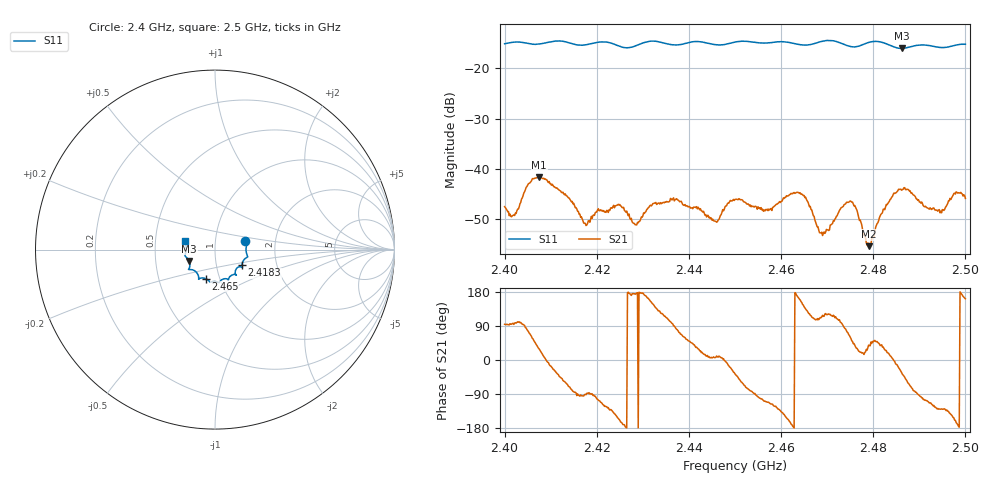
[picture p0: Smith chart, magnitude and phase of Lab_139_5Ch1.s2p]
# Hz S RI R 50
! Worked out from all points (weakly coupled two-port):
!   601 points, 2.4 GHz to 2.5 GHz, reference 50 ohm
!   highest |S21| = -41.62 dB at 2.4075 GHz (marker M1); lowest = -55.4 dB at 2.479 GHz (marker M2)
!   lowest |S11| = -16.1 dB at 2.4862 GHz (marker M3), VSWR 1.37, Z = 37.1 - j4.81 ohm
!   |S11| at or under -10 dB: start of sweep to end of sweep
!   S12 and S22 are empty: the file has one direction only
!   S11 on the Smith chart (normalised r, x): 2.4 GHz: 1.40, +0.13; 2.4183 GHz: 1.33, -0.24; 2.465 GHz: 0.86, -0.28; 2.5 GHz: 0.71, +0.07
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2.4e9  0.1688 0.0467  -0.000308 0.0042  0 0  0 0
2.402e9  0.1776 0.0373  -0.000238 0.00348  0 0  0 0
2.4075e9  0.1736 -0.00959  0.00724 0.00406  0 0  0 0
2.416667e9  0.1547 -0.0683  -0.000253 -0.00333  0 0  0 0
2.418333e9  0.1502 -0.0871  0.000203 -0.00302  0 0  0 0
2.424667e9  0.1372 -0.0949  -0.00399 -0.00194  0 0  0 0
2.4285e9  0.1128 -0.1238  -0.00277 0.000271  0 0  0 0
2.433333e9  0.1175 -0.1408  -0.00291 0.00352  0 0  0 0
2.437167e9  0.0896 -0.1449  0.000609 0.00496  0 0  0 0
2.445833e9  0.0548 -0.1622  0.00298 0.000371  0 0  0 0
2.45e9  0.0262 -0.1798  0.00399 -0.00297  0 0  0 0
2.456667e9  -0.00676 -0.1778  -0.00133 -0.00371  0 0  0 0
2.465e9  -0.0525 -0.1614  -0.00419 0.00346  0 0  0 0
2.466667e9  -0.0713 -0.1576  -0.00156 0.00359  0 0  0 0
2.469167e9  -0.0896 -0.1633  -0.000984 0.00208  0 0  0 0
2.475167e9  -0.1022 -0.1281  0.00261 0.00396  0 0  0 0
2.479e9  -0.142 -0.1111  0.00132 0.00108  0 0  0 0
2.483333e9  -0.1412 -0.0969  0.00441 0.0014  0 0  0 0
2.486167e9  -0.144 -0.0631  0.00512 -0.00337  0 0  0 0
2.494333e9  -0.1609 -0.00523  -0.00249 -0.00304  0 0  0 0
2.497833e9  -0.1656 0.0341  -0.00526 -0.00197  0 0  0 0
2.5e9  -0.1666 0.0467  -0.00482 0.00161  0 0  0 0
